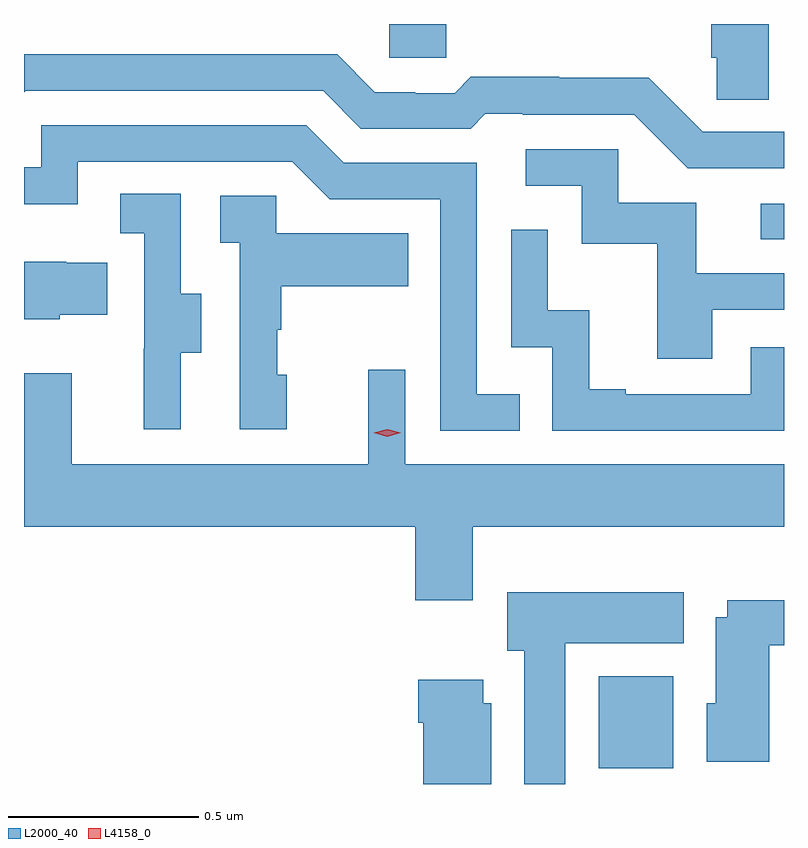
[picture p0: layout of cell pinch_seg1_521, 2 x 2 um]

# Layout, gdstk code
import gdstk
lib = gdstk.Library(unit=1e-6, precision=1e-09)
def R(c, l, rs):  # rectangles x0, y0, x1, y1
    for r in rs: c.add(gdstk.rectangle(r[:2], r[2:], *l))
def P(c, l, *ps):  # polygons
    for p in ps: c.add(gdstk.Polygon(p, *l))
L2000_40 = (2000, 40)
L4158_0 = (4158, 0)

pinch_seg1_521 = lib.new_cell('pinch_seg1_521')
R(pinch_seg1_521, L2000_40, [(1139.276,539.108,1139.473,539.35), (1139.703,540.501,1139.764,540.594), (1138.725,540.978,1138.875,541.067)])
P(pinch_seg1_521, L2000_40, [(1139.724,541.067),(1139.573,541.067),(1139.573,540.978),(1139.587,540.978),(1139.587,540.868),(1139.724,540.868)],
  [(1139.764,540.783),(1139.55,540.783),(1139.408,540.925),(1139.172,540.925),(1139.172,540.928),(1138.939,540.928),(1138.897,540.885),(1138.794,540.885),(1138.794,540.888),(1138.687,540.888),(1138.588,540.987),(1137.764,540.987),(1137.764,540.887),(1137.768,540.891),(1138.551,540.891),(1138.65,540.792),(1138.939,540.792),(1138.978,540.831),(1139.077,540.831),(1139.077,540.828),(1139.37,540.828),(1139.511,540.687),(1139.764,540.687)],
  [(1139.069,540.093),(1138.956,540.093),(1138.956,540.702),(1138.606,540.702),(1138.507,540.801),(1137.81,540.801),(1137.81,540.69),(1137.764,540.69),(1137.764,540.593),(1137.906,540.593),(1137.906,540.705),(1138.47,540.705),(1138.569,540.606),(1138.86,540.606),(1138.86,539.997),(1139.069,539.997)],
  [(1139.575,540.315),(1139.764,540.315),(1139.764,540.411),(1139.533,540.411),(1139.533,540.597),(1139.328,540.597),(1139.328,540.738),(1139.085,540.738),(1139.085,540.642),(1139.232,540.642),(1139.232,540.489),(1139.431,540.489),(1139.431,540.186),(1139.575,540.186)],
  [(1138.177,540.202),(1138.231,540.202),(1138.231,540.357),(1138.176,540.357),(1138.176,540.62),(1138.017,540.62),(1138.017,540.517),(1138.08,540.517),(1138.08,540.213),(1138.079,540.213),(1138.079,540),(1138.177,540)],
  [(1138.456,540.144),(1138.431,540.144),(1138.431,540.263),(1138.441,540.263),(1138.441,540.377),(1138.775,540.377),(1138.775,540.517),(1138.428,540.517),(1138.428,540.615),(1138.281,540.615),(1138.281,540.491),(1138.332,540.491),(1138.332,540),(1138.456,540)],
  [(1139.764,540.216),(1139.676,540.216),(1139.676,540.093),(1139.347,540.093),(1139.347,540.106),(1139.252,540.106),(1139.252,540.314),(1139.142,540.314),(1139.142,540.526),(1139.046,540.526),(1139.046,540.216),(1139.154,540.216),(1139.154,539.997),(1139.764,539.997)],
  [(1137.858,540.302),(1137.983,540.302),(1137.983,540.439),(1137.875,540.439),(1137.875,540.442),(1137.764,540.442),(1137.764,540.29),(1137.858,540.29)],
  [(1138.945,539.744),(1139.764,539.744),(1139.764,539.908),(1138.767,539.908),(1138.767,540.157),(1138.67,540.157),(1138.67,539.908),(1137.889,539.908),(1137.889,540.148),(1137.764,540.148),(1137.764,539.744),(1138.793,539.744),(1138.793,539.55),(1138.945,539.55)],
  [(1139.188,539.438),(1139.5,539.438),(1139.5,539.572),(1139.036,539.572),(1139.036,539.418),(1139.081,539.418),(1139.081,539.067),(1139.188,539.067)],
  [(1139.725,539.432),(1139.764,539.432),(1139.764,539.551),(1139.615,539.551),(1139.615,539.506),(1139.585,539.506),(1139.585,539.28),(1139.561,539.28),(1139.561,539.126),(1139.725,539.126)],
  [(1138.993,539.28),(1138.972,539.28),(1138.972,539.341),(1138.802,539.341),(1138.802,539.228),(1138.814,539.228),(1138.814,539.067),(1138.993,539.067)])
P(pinch_seg1_521, L4158_0, [(1138.72,539.981),(1138.685,539.991),(1138.684,539.991),(1138.685,539.991),(1138.72,540.001),(1138.755,539.991),(1138.756,539.991),(1138.755,539.991)])

lib.write_gds('pinch_seg1_521.gds')
